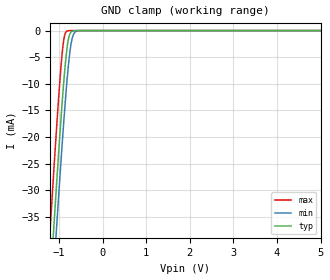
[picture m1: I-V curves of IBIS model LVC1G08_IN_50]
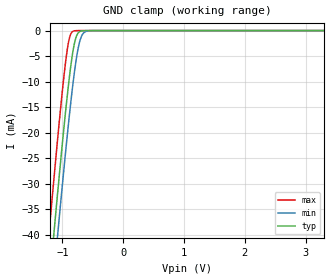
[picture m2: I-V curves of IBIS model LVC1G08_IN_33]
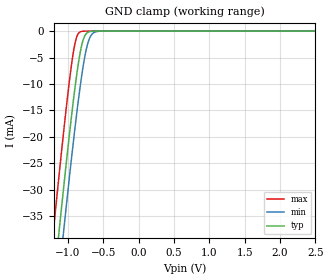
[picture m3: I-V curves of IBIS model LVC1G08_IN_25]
| TEXAS INSTRUMENTS INCORPORATED
| Standard Linear and Logic Group
| IBIS Model of SN74LVC1G08
| SINGLE 2-INPUT POSITIVE-AND GATE
| This file contains package information for the following:
|  SOT 5-pin (DBV) package as [Component] LVC1G08_DBV
|  SOT 5-pin (DCK) package as [Component] LVC1G08_DCK
|  USON 6-pin (DRY) package as [Component] LVC1G08_DRY
| This device can be powered at the following Vccs:
|  5.0 volt Vcc
|  3.3 volt Vcc
|  2.5 volt Vcc
|  1.8 volt Vcc
| This file provides unique models under the [Model Selector] for each Vcc.
| For operation at a specific Vcc, select the appropriate model after each
| [Model Selector] keyword.
[IBIS Ver]   4.1
[Comment char]  |_char
[File Name]   lvc1g08.ibs
[File Rev]   1.2 | d_die
[Date]   April 24, 2013
[Source]   Data created from TI-SPICE simulations at TI-SLL.
[Notes]   Revision History:
   Rev 1.2. Added package component LVC1G08_DRY
   - Due to the fact that the Device is 5.5-V Input tolarent,
   the pulldown model has some Non-Monotonic Warnings.
   - Power clamp data deleted as there is no power-clamp diode.
[Disclaimer]  This model is designed as an aid for customers of Texas Instruments
 TI and its licensors and suppliers make no warranties, either expressed
 or implied, with respect to this  model, including the warranties of
 merchantability or fitness for a particular purpose.
 The model is provided solely on an "as is" basis. The entire risk as to
 its quality and performance is with the customer.
[Copyright] (C)Copyright 2013 Texas Instruments Incorporated.
   All rights reserved.
| Component LVC1G08_DBV 5-pin SOT
[Component]   LVC1G08_DBV
[Manufacturer]   Texas Instruments, Inc.
[Package]
|   typ   min   max
R_pkg   2.500e-02   2.100e-02   2.900e-02
L_pkg   1.529e-09   1.312e-09   1.906e-09
C_pkg   1.560e-13   1.100e-13   2.400e-13
[Pin]   signal_name   model_name   R_pin   L_pin   C_pin
1   A1   LVC1G08_IN   2.100e-02   1.511e-09   1.440e-13
2   B1   LVC1G08_IN   2.300e-02   1.312e-09   1.380e-13
3   GND   GND   2.900e-02   1.906e-09   2.400e-13
4   Y1   LVC1G08_OUT   2.600e-02   1.541e-09   1.500e-13
5   VCC   POWER   2.500e-02   1.374e-09   1.100e-13
| Component LVC1G08_DCK 5-pin SOT
[Component]   LVC1G08_DCK
[Manufacturer]   Texas Instruments, Inc.
[Package]
|   typ   min   max
R_pkg   2.000e-02   1.700e-02   2.500e-02
L_pkg   9.980e-10   8.810e-10   1.069e-09
C_pkg   1.460e-13   1.180e-13   2.050e-13
[Pin]   signal_name   model_name   R_pin   L_pin   C_pin
1   A1   LVC1G08_IN   1.900e-02   1.069e-09   1.620e-13
2   B1   LVC1G08_IN   1.800e-02   8.810e-10   1.210e-13
3   GND   GND   1.700e-02   1.031e-09   2.050e-13
4   Y1   LVC1G08_OUT   2.000e-02   9.600e-10   1.240e-13
5   VCC   POWER   2.500e-02   1.049e-09   1.180e-13
| Component LVC1G08_DRY 6-pin USON
[Component]   LVC1G08_DRY
[Manufacturer]   Texas Instruments, Inc.
[Package]
|   typ   min   max
R_pkg   0.04988   0.00103   0.05683
L_pkg   0.40631n   0.01445n   0.47858n
C_pkg   0.10742p   0.07652p   0.11194p
[Pin]   signal_name   model_name   R_pin   L_pin   C_pin
1   A   LVC1G08_IN   0.05683   0.47858n   0.11194p
2   A   LVC1G08_IN   0.04686   0.38124n   0.10769p
3   GND   GND   0.05415   0.45213n   0.10986p
4   Y   LVC1G08_OUT   0.05132   0.42056n   0.10715p
5   NC   NC   0.00103   0.01445n   0.07652p
6   VCC   POWER   0.04843   0.39205n   0.10505p
| Model LVC1G08_IN
[Model Selector]   LVC1G08_IN
LVC1G08_IN_50   5.0 volt Vcc
LVC1G08_IN_33   3.3 volt Vcc
LVC1G08_IN_25   2.5 volt Vcc
LVC1G08_IN_18   1.8 volt Vcc
| Model LVC1G08_OUT
[Model Selector]   LVC1G08_OUT
LVC1G08_OUT_50   5.0 volt Vcc
LVC1G08_OUT_33   3.3 volt Vcc
LVC1G08_OUT_25   2.5 volt Vcc
LVC1G08_OUT_18   1.8 volt Vcc
| Models and submodels in the file (8): LVC1G08_IN_50 (Input), LVC1G08_IN_33 (Input), LVC1G08_IN_25 (Input), LVC1G08_IN_18 (Input), LVC1G08_OUT_50 (Output), LVC1G08_OUT_33 (Output), LVC1G08_OUT_25 (Output), LVC1G08_OUT_18 (Output)
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[Model]   LVC1G08_IN_50
Model_type  Input
Vinl =   1.35
Vinh =   3.85
| variable   typ   min   max
C_comp   3.22pF   2.49pF   4.36pF
[Temperature Range]   40   100   -40
| Ambient temperature   25   85   -40
[Voltage range]   5   4.5   5.5
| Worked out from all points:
|   GND clamp passes 1 mA (typ) near -0.77 V on its own axis
[GND Clamp]
| LVC1G08_IN_50
|   Voltage   I(typ)   I(min)   I(max)
-5V       -583.8mA   -590.8mA   -575.1mA
-1.21V    -48.93mA   -57.22mA   -38.3mA
-1.13V    -38.42mA   -46.71mA   -27.77mA
-1.07V    -30.71mA   -38.96mA   -20.13mA
-1.05V    -28.19mA   -36.42mA   -17.65mA
-915mV    -12.21mA   -19.95mA   -3.333mA
-870mV    -7.651mA   -14.9mA    -891.1uA
-815mV    -3.252mA   -9.299mA   -87.06uA
-770mV    -1.128mA   -5.445mA   -10.73uA
-705mV    -146.7uA   -1.723mA   -505nA
-575mV    -1.597uA   -52.97uA   -1.117nA
5V        9.69pA     12.83pA    9.218pA
[Model]   LVC1G08_IN_33
Model_type  Input
Vinl =   0.8
Vinh =   2.0
| variable   typ   min   max
C_comp   3.19pF   2.54pF   4.41pF
[Temperature Range]   40   100   -40
| Ambient temperature   25   85   -40
[Voltage range]   3.3   3   3.6
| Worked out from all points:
|   GND clamp passes 1 mA (typ) near -0.77 V on its own axis
[GND Clamp]
| LVC1G08_IN_33
|   Voltage   I(typ)   I(min)   I(max)
-5V       -583.8mA   -590.8mA   -575.1mA
-1.215V   -49.6mA    -57.88mA   -38.96mA
-1.14V    -39.72mA   -48.01mA   -29.07mA
-1.08V    -31.98mA   -40.25mA   -21.38mA
-1.06V    -29.44mA   -37.69mA   -18.89mA
-925mV    -13.29mA   -21.11mA   -4.122mA
-875mV    -8.124mA   -15.45mA   -1.065mA
-820mV    -3.579mA   -9.774mA   -109.4uA
-770mV    -1.128mA   -5.445mA   -10.73uA
-715mV    -205.4uA   -2.128mA   -808.5nA
-590mV    -2.7uA     -81.86uA   -2.255nA
3.3V      6.304pA    9.258pA    5.93pA
[Model]   LVC1G08_IN_25
Model_type  Input
Vinl =   0.7
Vinh =   1.7
| variable   typ   min   max
C_comp   3.17pF   2.55pF   4.29pF
[Temperature Range]   40   100   -40
| Ambient temperature   25   85   -40
[Voltage range]   2.5   2.3   2.7
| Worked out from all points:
|   GND clamp passes 1 mA (typ) near -0.77 V on its own axis
[GND Clamp]
| LVC1G08_IN_25
|   Voltage   I(typ)   I(min)   I(max)
-5V       -583.8mA   -590.8mA   -575.1mA
-1.205V   -48.27mA   -56.56mA   -37.63mA
-1.13V    -38.42mA   -46.71mA   -27.77mA
-1.07V    -30.71mA   -38.96mA   -20.13mA
-1.05V    -28.19mA   -36.42mA   -17.65mA
-955mV    -16.68mA   -24.66mA   -6.874mA
-885mV    -9.098mA   -16.55mA   -1.486mA
-830mV    -4.281mA   -10.75mA   -171.6uA
-780mV    -1.472mA   -6.227mA   -17.15uA
-710mV    -173.7uA   -1.918mA   -639nA
-645mV    -18.49uA   -387.7uA   -29.98nA
2.5V      4.713pA    7.577pA    4.389pA
